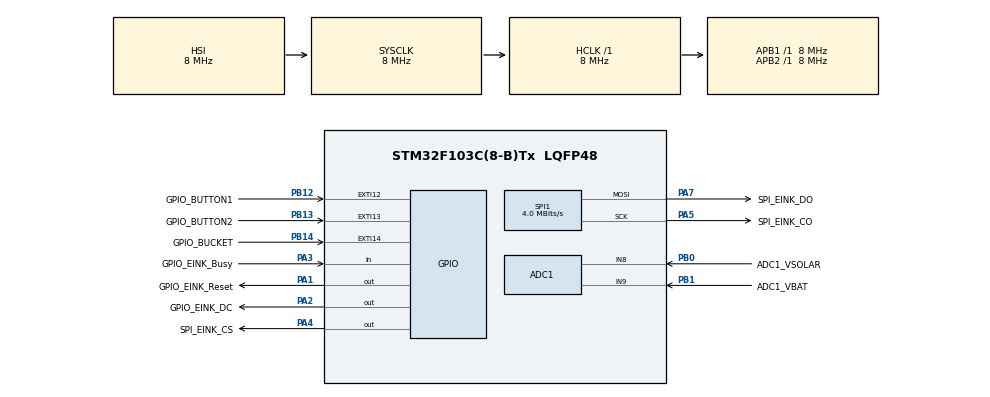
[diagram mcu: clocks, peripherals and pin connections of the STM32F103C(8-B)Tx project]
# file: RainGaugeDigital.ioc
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ADC1.Channel-0\#ChannelRegularConversion=ADC_CHANNEL_8
ADC1.ContinuousConvMode=DISABLE
ADC1.NbrOfConversion=1
ADC1.NbrOfConversionFlag=1
ADC1.Rank-0\#ChannelRegularConversion=1
ADC1.SamplingTime-0\#ChannelRegularConversion=ADC_SAMPLETIME_28CYCLES_5
ADC1.master=1
Dma.Request0=SPI1_TX
Dma.SPI1_TX.0.Direction=DMA_MEMORY_TO_PERIPH
Dma.SPI1_TX.0.Instance=DMA1_Channel3
Dma.SPI1_TX.0.MemDataAlignment=DMA_MDATAALIGN_BYTE
Dma.SPI1_TX.0.MemInc=DMA_MINC_ENABLE
Dma.SPI1_TX.0.Mode=DMA_NORMAL
Dma.SPI1_TX.0.PeriphDataAlignment=DMA_PDATAALIGN_BYTE
Dma.SPI1_TX.0.PeriphInc=DMA_PINC_DISABLE
Dma.SPI1_TX.0.Priority=DMA_PRIORITY_LOW
Mcu.Family=STM32F1
Mcu.Name=STM32F103C(8-B)Tx
Mcu.Package=LQFP48
NVIC.DMA1_Channel3_IRQn=true\:1\:0\:true\:false\:true\:false\:true
NVIC.EXTI15_10_IRQn=true\:0\:0\:true\:false\:true\:true\:true
NVIC.PriorityGroup=NVIC_PRIORITYGROUP_4
NVIC.RTC_Alarm_IRQn=true\:1\:0\:true\:false\:true\:true\:true
NVIC.SPI1_IRQn=true\:1\:0\:true\:false\:true\:true\:true
PA0-WKUP.Mode=SYS_WakeUp0
PA0-WKUP.Signal=SYS_WKUP
PA1.GPIO_Label=GPIO_EINK_Reset
PA1.Signal=GPIO_Output
PA13.Mode=Serial_Wire
PA13.Signal=SYS_JTMS-SWDIO
PA14.Mode=Serial_Wire
PA14.Signal=SYS_JTCK-SWCLK
PA2.GPIO_Label=GPIO_EINK_DC
PA2.GPIO_PuPd=GPIO_PULLDOWN
PA2.Signal=GPIO_Output
PA3.GPIO_Label=GPIO_EINK_Busy
PA3.GPIO_PuPd=GPIO_PULLDOWN
PA3.Signal=GPIO_Input
PA4.GPIO_Label=SPI_EINK_CS
PA4.Signal=GPIO_Output
PA5.GPIO_Label=SPI_EINK_CO
PA5.Mode=TX_Only_Simplex_Unidirect_Master
PA5.Signal=SPI1_SCK
PA7.GPIO_Label=SPI_EINK_DO
PA7.Mode=TX_Only_Simplex_Unidirect_Master
PA7.Signal=SPI1_MOSI
PB0.GPIO_Label=ADC1_VSOLAR
PB0.Signal=ADCx_IN8
PB1.GPIO_Label=ADC1_VBAT
PB1.Signal=ADCx_IN9
PB12.GPIO_Label=GPIO_BUTTON1
PB12.GPIO_ModeDefaultEXTI=GPIO_MODE_IT_RISING_FALLING
PB12.GPIO_PuPd=GPIO_PULLUP
PB12.Signal=GPXTI12
PB13.GPIO_Label=GPIO_BUTTON2
PB13.GPIO_ModeDefaultEXTI=GPIO_MODE_IT_RISING_FALLING
PB13.GPIO_PuPd=GPIO_PULLUP
PB13.Signal=GPXTI13
PB14.GPIO_Label=GPIO_BUCKET
PB14.GPIO_ModeDefaultEXTI=GPIO_MODE_IT_RISING_FALLING
PB14.GPIO_PuPd=GPIO_PULLUP
PB14.Signal=GPXTI14
PC14-OSC32_IN.Mode=LSE-External-Oscillator
PC14-OSC32_IN.Signal=RCC_OSC32_IN
PC15-OSC32_OUT.Mode=LSE-External-Oscillator
PC15-OSC32_OUT.Signal=RCC_OSC32_OUT
ProjectManager.HeapSize=0x200
ProjectManager.StackSize=0x400
ProjectManager.TargetToolchain=STM32CubeIDE
RCC.ADCPresc=RCC_ADCPCLK2_DIV8
RCC.AHBFreq_Value=8000000
RCC.APB1Freq_Value=8000000
RCC.APB1TimFreq_Value=8000000
RCC.APB2Freq_Value=8000000
RCC.APB2TimFreq_Value=8000000
RCC.HCLKFreq_Value=8000000
RCC.HSEDivPLL=RCC_HSE_PREDIV_DIV2
RCC.RTCClockSelection=RCC_RTCCLKSOURCE_LSE
RCC.SYSCLKFreq_VALUE=8000000
RCC.USBFreq_Value=8000000
RTC.Format=RTC_FORMAT_BIN
RTC.Hours=12
RTC.Minutes=10
RTC.Year=25
SH.ADCx_IN8.0=ADC1_IN8,IN8
SH.ADCx_IN9.0=ADC1_IN9,IN9
SPI1.BaudRatePrescaler=SPI_BAUDRATEPRESCALER_2
SPI1.CLKPolarity=SPI_POLARITY_LOW
SPI1.CalculateBaudRate=4.0 MBits/s
SPI1.Direction=SPI_DIRECTION_2LINES
SPI1.Mode=SPI_MODE_MASTER
SPI1.VirtualType=VM_MASTER
VP_ADC1_TempSens_Input.Mode=IN-TempSens
VP_ADC1_Vref_Input.Mode=IN-Vrefint
VP_RTC_VS_RTC_Activate.Mode=RTC_Enabled
board=custom

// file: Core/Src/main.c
/* USER CODE BEGIN Header */
/**
  ******************************************************************************
  * @file           : main.c
  * @brief          : Main program body
  ******************************************************************************
  * @attention
  *
  * <h2><center>&copy; Copyright (c) 2024 STMicroelectronics.
  * All rights reserved.</center></h2>
  *
  * This software component is licensed by ST under BSD 3-Clause license,
  * the "License"; You may not use this file except in compliance with the
  * License. You may obtain a copy of the License at:
  *                        opensource.org/licenses/BSD-3-Clause
  *
  ******************************************************************************
  */
/* USER CODE END Header */
#include "main.h"

/* USER CODE BEGIN Includes */
#include "../../RainGaugeApp.h"
#include <stdio.h>
#include "../../Debug.h"
/* USER CODE END Includes */

ADC_HandleTypeDef hadc1;

RTC_HandleTypeDef hrtc;

SPI_HandleTypeDef hspi1;
DMA_HandleTypeDef hdma_spi1_tx;

void SystemClock_Config(void);
static void MX_GPIO_Init(void);
static void MX_DMA_Init(void);
static void MX_ADC1_Init(void);
static void MX_RTC_Init(void);
static void MX_SPI1_Init(void);

/* USER CODE BEGIN 0 */
/// @brief  Possible STM32 system reset causes
typedef enum reset_cause_e
{
	RESET_CAUSE_UNKNOWN                    = 0,
	RESET_CAUSE_LOW_POWER_RESET,
	RESET_CAUSE_WINDOW_WATCHDOG_RESET,
	RESET_CAUSE_INDEPENDENT_WATCHDOG_RESET,
	RESET_CAUSE_SOFTWARE_RESET,
	RESET_CAUSE_POWER_ON_POWER_DOWN_RESET,
	RESET_CAUSE_EXTERNAL_RESET_PIN_RESET,
	RESET_CAUSE_BROWNOUT_RESET,
} reset_cause_t;

/// @brief      Obtain the STM32 system reset cause
/// @param      None
/// @return     The system reset cause
reset_cause_t reset_cause_get(void)
{
	reset_cause_t reset_cause;

	if (__HAL_RCC_GET_FLAG(RCC_FLAG_LPWRRST))
	{
		reset_cause = RESET_CAUSE_LOW_POWER_RESET;
	}
	else if (__HAL_RCC_GET_FLAG(RCC_FLAG_WWDGRST))
	{
		reset_cause = RESET_CAUSE_WINDOW_WATCHDOG_RESET;
	}
	else if (__HAL_RCC_GET_FLAG(RCC_FLAG_IWDGRST))
	{
		reset_cause = RESET_CAUSE_INDEPENDENT_WATCHDOG_RESET;
	}
	else if (__HAL_RCC_GET_FLAG(RCC_FLAG_SFTRST))
	{
		// This reset is induced by calling the ARM CMSIS
		// `NVIC_SystemReset()` function!
		reset_cause = RESET_CAUSE_SOFTWARE_RESET;
	}
	else if (__HAL_RCC_GET_FLAG(RCC_FLAG_PORRST))
	{
		reset_cause = RESET_CAUSE_POWER_ON_POWER_DOWN_RESET;
	}
	else if (__HAL_RCC_GET_FLAG(RCC_FLAG_PINRST))
	{
		reset_cause = RESET_CAUSE_EXTERNAL_RESET_PIN_RESET;
	}
	// Needs to come *after* checking the `RCC_FLAG_PORRST` flag in order to
	// ensure first that the reset cause is NOT a POR/PDR reset. See note
	// below.
	//else if (__HAL_RCC_GET_FLAG(RCC_FLAG_BORRST))
	//{
	//	reset_cause = RESET_CAUSE_BROWNOUT_RESET;
	//}
	else
	{
		reset_cause = RESET_CAUSE_UNKNOWN;
	}

	// Clear all the reset flags or else they will remain set during future
	// resets until system power is fully removed.
	__HAL_RCC_CLEAR_RESET_FLAGS();

	return reset_cause;
}

// Note: any of the STM32 Hardware Abstraction Layer (HAL) Reset and Clock
// Controller (RCC) header files, such as
// "STM32Cube_FW_F7_V1.12.0/Drivers/STM32F7xx_HAL_Driver/Inc/stm32f7xx_hal_rcc.h",
// "STM32Cube_FW_F2_V1.7.0/Drivers/STM32F2xx_HAL_Driver/Inc/stm32f2xx_hal_rcc.h",
// etc., indicate that the brownout flag, `RCC_FLAG_BORRST`, will be set in
// the event of a "POR/PDR or BOR reset". This means that a Power-On Reset
// (POR), Power-Down Reset (PDR), OR Brownout Reset (BOR) will trip this flag.
// See the doxygen just above their definition for the
// `__HAL_RCC_GET_FLAG()` macro to see this:
//      "@arg RCC_FLAG_BORRST: POR/PDR or BOR reset." <== indicates the Brownout
//      Reset flag will *also* be set in the event of a POR/PDR.
// Therefore, you must check the Brownout Reset flag, `RCC_FLAG_BORRST`, *after*
// first checking the `RCC_FLAG_PORRST` flag in order to ensure first that the
// reset cause is NOT a POR/PDR reset.

/// @brief      Obtain the system reset cause as an ASCII-printable name string
///             from a reset cause type
/// @param[in]  reset_cause     The previously-obtained system reset cause
/// @return     A null-terminated ASCII name string describing the system
///             reset cause
const char * reset_cause_get_name(reset_cause_t reset_cause)
{
	const char * reset_cause_name = "TBD";

	switch (reset_cause)
	{
	case RESET_CAUSE_UNKNOWN:
		reset_cause_name = "UNKNOWN";
		break;
	case RESET_CAUSE_LOW_POWER_RESET:
		reset_cause_name = "LOW_POWER_RESET";
		break;
	case RESET_CAUSE_WINDOW_WATCHDOG_RESET:
		reset_cause_name = "WINDOW_WATCHDOG_RESET";
		break;
	case RESET_CAUSE_INDEPENDENT_WATCHDOG_RESET:
		reset_cause_name = "INDEPENDENT_WATCHDOG_RESET";
		break;
	case RESET_CAUSE_SOFTWARE_RESET:
		reset_cause_name = "SOFTWARE_RESET";
		break;
	case RESET_CAUSE_POWER_ON_POWER_DOWN_RESET:
		reset_cause_name = "POWER-ON_RESET (POR) / POWER-DOWN_RESET (PDR)";
		break;
	case RESET_CAUSE_EXTERNAL_RESET_PIN_RESET:
		reset_cause_name = "EXTERNAL_RESET_PIN_RESET";
		break;
	case RESET_CAUSE_BROWNOUT_RESET:
		reset_cause_name = "BROWNOUT_RESET (BOR)";
		break;
	}

	return reset_cause_name;
}
/* USER CODE END 0 */

int main(void)
{
  /* USER CODE BEGIN 1 */
  reset_cause_t reset_cause = reset_cause_get();
  /* USER CODE END 1 */

  /* MCU Configuration--------------------------------------------------------*/

  /* Reset of all peripherals, Initializes the Flash interface and the Systick. */
  HAL_Init();

  /* Configure the system clock */
  SystemClock_Config();

  /* Initialize all configured peripherals */
  MX_GPIO_Init();
  MX_DMA_Init();
  MX_ADC1_Init();
  MX_RTC_Init();
  MX_SPI1_Init();
  /* USER CODE BEGIN 2 */
#define SET_DATETIME_ON_START
#ifdef SET_DATETIME_ON_START
	const uint8_t compileYear = (__DATE__[9] - '0') * 10 + (__DATE__[10] - '0');
	const uint8_t compileMonth = (__DATE__[0] == 'J') ? ((__DATE__[1] == 'a') ? 1 : ((__DATE__[2] == 'n') ? 6 : 7))    // Jan, Jun or Jul
										: (__DATE__[0] == 'F') ? 2                                                              // Feb
										: (__DATE__[0] == 'M') ? ((__DATE__[2] == 'r') ? 3 : 5)                                 // Mar or May
										: (__DATE__[0] == 'A') ? ((__DATE__[1] == 'p') ? 4 : 8)                                 // Apr or Aug
										: (__DATE__[0] == 'S') ? 9                                                              // Sep
										: (__DATE__[0] == 'O') ? 10                                                             // Oct
										: (__DATE__[0] == 'N') ? 11                                                             // Nov
										: (__DATE__[0] == 'D') ? 12                                                             // Dec
										: 0;
	const uint8_t compileDay = (__DATE__[4] == ' ') ? (__DATE__[5] - '0') : (__DATE__[4] - '0') * 10 + (__DATE__[5] - '0');

	const uint8_t compileHour = (__TIME__[0] == ' ') ? (__TIME__[1] - '0') : (__TIME__[0] - '0') * 10 + (__TIME__[1] - '0');
	const uint8_t compileMinute = (__TIME__[3] - '0') * 10 + (__TIME__[4] - '0');
	const uint8_t compileSecond = (__TIME__[6] - '0') * 10 + (__TIME__[7] - '0');

	RTC_TimeTypeDef time;
	time.Hours = compileHour;
	time.Minutes = compileMinute;
	time.Seconds = compileSecond;
	HAL_RTC_SetTime(&hrtc, &time, RTC_FORMAT_BIN);

	RTC_DateTypeDef date;
	date.Date = compileDay;
	date.Month = compileMonth;
	date.Year = compileYear;
	HAL_RTC_SetDate(&hrtc, &date, RTC_FORMAT_BIN);
#endif
	{
		// EXTI configuration
		/*
		EXTI_HandleTypeDef hexti;
		HAL_EXTI_GetHandle(&hexti, EXTI_LINE_17);
		EXTI_ConfigTypeDef hexti_config;
		HAL_EXTI_GetConfigLine(&hexti, &hexti_config);
		HAL_EXTI_ClearPending(&hexti, EXTI_TRIGGER_RISING_FALLING);
		hexti_config.Line = EXTI_LINE_17;
		hexti_config.Mode = EXTI_MODE_INTERRUPT;
		hexti_config.Trigger = EXTI_TRIGGER_RISING;
		HAL_EXTI_SetConfigLine(&hexti, &hexti_config);
		*/
	}

  /* USER CODE END 2 */

  /* Infinite loop */
  while (1)
  {

    /* USER CODE BEGIN 3 */
	  Debug("The system reset cause is \"%s\"\n", reset_cause_get_name(reset_cause));
	  Debug("Delaying 5sec\n");
	  //HAL_Delay(5000);
	  Debug("Starting\n");
	  rain_guage_app();
  }
  /* USER CODE END 3 */
}

void SystemClock_Config(void)
{
  RCC_OscInitTypeDef RCC_OscInitStruct = {0};
  RCC_ClkInitTypeDef RCC_ClkInitStruct = {0};
  RCC_PeriphCLKInitTypeDef PeriphClkInit = {0};

  /** Initializes the RCC Oscillators according to the specified parameters
  * in the RCC_OscInitTypeDef structure.
  */
  RCC_OscInitStruct.OscillatorType = RCC_OSCILLATORTYPE_HSI|RCC_OSCILLATORTYPE_LSE;
  RCC_OscInitStruct.LSEState = RCC_LSE_ON;
  RCC_OscInitStruct.HSIState = RCC_HSI_ON;
  RCC_OscInitStruct.HSICalibrationValue = RCC_HSICALIBRATION_DEFAULT;
  RCC_OscInitStruct.PLL.PLLState = RCC_PLL_NONE;
  if (HAL_RCC_OscConfig(&RCC_OscInitStruct) != HAL_OK)
  {
    Error_Handler();
  }
  /** Initializes the CPU, AHB and APB buses clocks
  */
  RCC_ClkInitStruct.ClockType = RCC_CLOCKTYPE_HCLK|RCC_CLOCKTYPE_SYSCLK
                              |RCC_CLOCKTYPE_PCLK1|RCC_CLOCKTYPE_PCLK2;
  RCC_ClkInitStruct.SYSCLKSource = RCC_SYSCLKSOURCE_HSI;
  RCC_ClkInitStruct.AHBCLKDivider = RCC_SYSCLK_DIV1;
  RCC_ClkInitStruct.APB1CLKDivider = RCC_HCLK_DIV1;
  RCC_ClkInitStruct.APB2CLKDivider = RCC_HCLK_DIV1;

  if (HAL_RCC_ClockConfig(&RCC_ClkInitStruct, FLASH_LATENCY_0) != HAL_OK)
  {
    Error_Handler();
  }
  PeriphClkInit.PeriphClockSelection = RCC_PERIPHCLK_RTC|RCC_PERIPHCLK_ADC;
  PeriphClkInit.RTCClockSelection = RCC_RTCCLKSOURCE_LSE;
  PeriphClkInit.AdcClockSelection = RCC_ADCPCLK2_DIV8;
  if (HAL_RCCEx_PeriphCLKConfig(&PeriphClkInit) != HAL_OK)
  {
    Error_Handler();
  }
}

static void MX_ADC1_Init(void)
{

  ADC_ChannelConfTypeDef sConfig = {0};

  /** Common config
  */
  hadc1.Instance = ADC1;
  hadc1.Init.ScanConvMode = ADC_SCAN_DISABLE;
  hadc1.Init.ContinuousConvMode = DISABLE;
  hadc1.Init.DiscontinuousConvMode = DISABLE;
  hadc1.Init.ExternalTrigConv = ADC_SOFTWARE_START;
  hadc1.Init.DataAlign = ADC_DATAALIGN_RIGHT;
  hadc1.Init.NbrOfConversion = 1;
  if (HAL_ADC_Init(&hadc1) != HAL_OK)
  {
    Error_Handler();
  }
  /** Configure Regular Channel
  */
  sConfig.Channel = ADC_CHANNEL_8;
  sConfig.Rank = ADC_REGULAR_RANK_1;
  sConfig.SamplingTime = ADC_SAMPLETIME_28CYCLES_5;
  if (HAL_ADC_ConfigChannel(&hadc1, &sConfig) != HAL_OK)
  {
    Error_Handler();
  }

}

static void MX_RTC_Init(void)
{

  /** Initialize RTC Only
  */
  hrtc.Instance = RTC;
  hrtc.Init.AsynchPrediv = RTC_AUTO_1_SECOND;
  hrtc.Init.OutPut = RTC_OUTPUTSOURCE_ALARM;
  if (HAL_RTC_Init(&hrtc) != HAL_OK)
  {
    Error_Handler();
  }

}

static void MX_SPI1_Init(void)
{

  /* SPI1 parameter configuration*/
  hspi1.Instance = SPI1;
  hspi1.Init.Mode = SPI_MODE_MASTER;
  hspi1.Init.Direction = SPI_DIRECTION_2LINES;
  hspi1.Init.DataSize = SPI_DATASIZE_8BIT;
  hspi1.Init.CLKPolarity = SPI_POLARITY_LOW;
  hspi1.Init.CLKPhase = SPI_PHASE_1EDGE;
  hspi1.Init.NSS = SPI_NSS_SOFT;
  hspi1.Init.BaudRatePrescaler = SPI_BAUDRATEPRESCALER_2;
  hspi1.Init.FirstBit = SPI_FIRSTBIT_MSB;
  hspi1.Init.TIMode = SPI_TIMODE_DISABLE;
  hspi1.Init.CRCCalculation = SPI_CRCCALCULATION_DISABLE;
  hspi1.Init.CRCPolynomial = 10;
  if (HAL_SPI_Init(&hspi1) != HAL_OK)
  {
    Error_Handler();
  }

}

static void MX_DMA_Init(void)
{

  /* DMA controller clock enable */
  __HAL_RCC_DMA1_CLK_ENABLE();

  /* DMA interrupt init */
  /* DMA1_Channel3_IRQn interrupt configuration */
  HAL_NVIC_SetPriority(DMA1_Channel3_IRQn, 1, 0);
  HAL_NVIC_EnableIRQ(DMA1_Channel3_IRQn);

}

static void MX_GPIO_Init(void)
{
  GPIO_InitTypeDef GPIO_InitStruct = {0};

  /* GPIO Ports Clock Enable */
  __HAL_RCC_GPIOC_CLK_ENABLE();
  __HAL_RCC_GPIOA_CLK_ENABLE();
  __HAL_RCC_GPIOB_CLK_ENABLE();

  /*Configure GPIO pin Output Level */
  HAL_GPIO_WritePin(GPIOA, GPIO_EINK_Reset_Pin|GPIO_EINK_DC_Pin|SPI_EINK_CS_Pin, GPIO_PIN_RESET);

  /*Configure GPIO pins : GPIO_EINK_Reset_Pin SPI_EINK_CS_Pin */
  GPIO_InitStruct.Pin = GPIO_EINK_Reset_Pin|SPI_EINK_CS_Pin;
  GPIO_InitStruct.Mode = GPIO_MODE_OUTPUT_PP;
  GPIO_InitStruct.Pull = GPIO_NOPULL;
  GPIO_InitStruct.Speed = GPIO_SPEED_FREQ_LOW;
  HAL_GPIO_Init(GPIOA, &GPIO_InitStruct);

  /*Configure GPIO pin : GPIO_EINK_DC_Pin */
  GPIO_InitStruct.Pin = GPIO_EINK_DC_Pin;
  GPIO_InitStruct.Mode = GPIO_MODE_OUTPUT_PP;
  GPIO_InitStruct.Pull = GPIO_PULLDOWN;
  GPIO_InitStruct.Speed = GPIO_SPEED_FREQ_LOW;
  HAL_GPIO_Init(GPIO_EINK_DC_GPIO_Port, &GPIO_InitStruct);

  /*Configure GPIO pin : GPIO_EINK_Busy_Pin */
  GPIO_InitStruct.Pin = GPIO_EINK_Busy_Pin;
  GPIO_InitStruct.Mode = GPIO_MODE_INPUT;
  GPIO_InitStruct.Pull = GPIO_PULLDOWN;
  HAL_GPIO_Init(GPIO_EINK_Busy_GPIO_Port, &GPIO_InitStruct);

  /*Configure GPIO pins : GPIO_BUTTON1_Pin GPIO_BUTTON2_Pin GPIO_BUCKET_Pin */
  GPIO_InitStruct.Pin = GPIO_BUTTON1_Pin|GPIO_BUTTON2_Pin|GPIO_BUCKET_Pin;
  GPIO_InitStruct.Mode = GPIO_MODE_IT_RISING_FALLING;
  GPIO_InitStruct.Pull = GPIO_PULLUP;
  HAL_GPIO_Init(GPIOB, &GPIO_InitStruct);

  /* EXTI interrupt init*/
  HAL_NVIC_SetPriority(EXTI15_10_IRQn, 0, 0);
  HAL_NVIC_EnableIRQ(EXTI15_10_IRQn);

}

void Error_Handler(void)
{
  __disable_irq();
  while (1)
  {
  }
}

/************************ (C) COPYRIGHT STMicroelectronics *****END OF FILE****/
